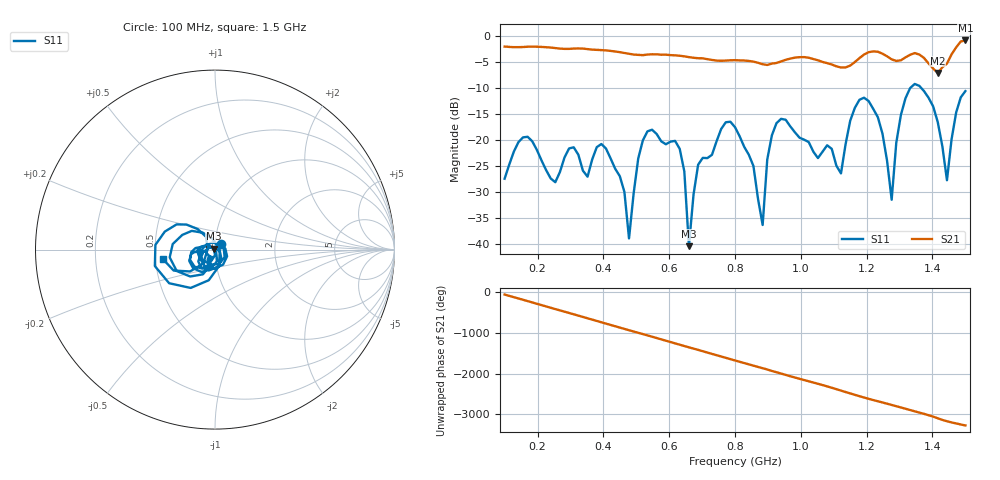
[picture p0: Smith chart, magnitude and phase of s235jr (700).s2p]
! NanoVNA-App
! Date: 2025-09-25 15:09:37
! Start: 100MHz Stop: 1,5GHz Points: 101
! S-Parameter data: F S11 S21 S12 S22
# Hz S RI R 50
!  Frequency  S11_Real  S11_Imag  S21_Real  S21_Imag  S12_Real  S12_Imag  S22_Real  S22_Imag
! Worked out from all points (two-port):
!   101 points, 100 MHz to 1.5 GHz, reference 50 ohm
!   highest |S21| = -0.79 dB at 1.5 GHz (marker M1); lowest = -7.1 dB at 1.416 GHz (marker M2)
!   |S21| within 3 dB of the highest: start of sweep to 638.3 MHz; 1.186 GHz to 1.26 GHz (74.11 MHz wide, 6.06 % of centre) (the widest 2 of 4)
!   lowest |S11| = -40.5 dB at 660 MHz (marker M3), VSWR 1.02, Z = 49.2 + j0.543 ohm
!   |S11| at or under -10 dB: start of sweep to 1.332 GHz; 1.366 GHz to end of sweep
!   S12 and S22 are empty: the file has one direction only
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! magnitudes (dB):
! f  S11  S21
! 100 MHz  -27.5  -2.0
! 170 MHz  -19.4  -2.0
! 338 MHz  -25.9  -2.4
! 408 MHz  -21.6  -2.7
! 478 MHz  -39.0  -3.4
! 520 MHz  -20.1  -3.6
! 576 MHz  -20.3  -3.5
! 632 MHz  -21.7  -3.7
! 660 MHz  -40.5  -4.0
! 688 MHz  -24.8  -4.2
! 800 MHz  -17.5  -4.6
! 884 MHz  -36.4  -5.4
! 926 MHz  -16.8  -5.1
! 1.038 GHz  -22.2  -4.4
! 1.122 GHz  -26.4  -6.0
! 1.192 GHz  -11.8  -3.5
! 1.248 GHz  -18.8  -3.3
! 1.276 GHz  -31.5  -4.4
! 1.332 GHz  -10.0  -3.6
! 1.416 GHz  -16.5  -7.1
! 1.444 GHz  -27.8  -5.3
! 1.5 GHz  -10.6  -0.8
